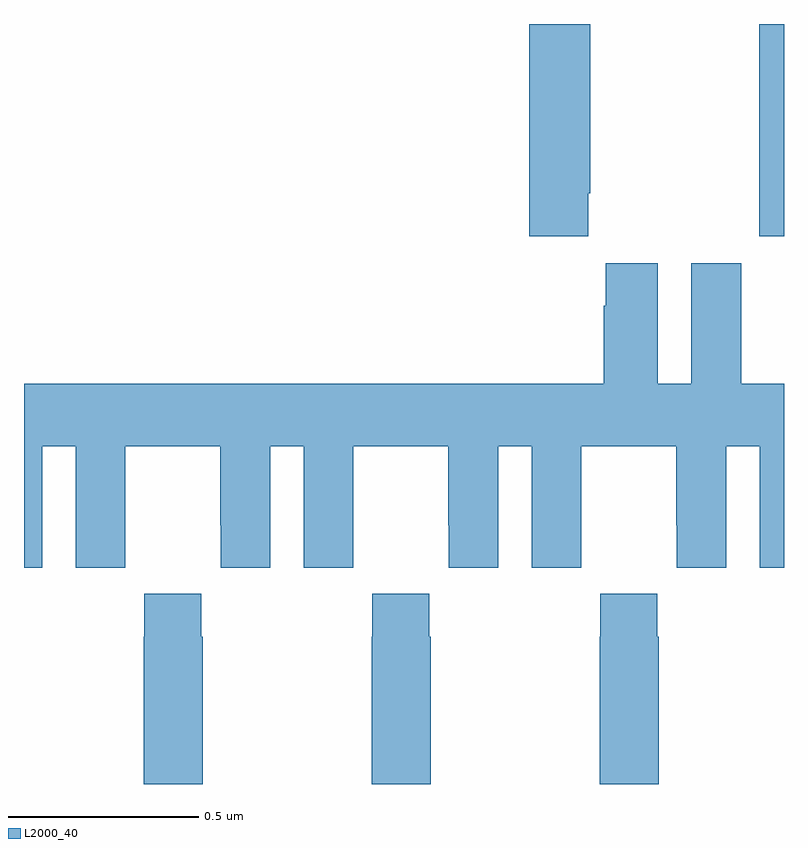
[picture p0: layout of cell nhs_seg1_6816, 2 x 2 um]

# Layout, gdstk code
import gdstk
lib = gdstk.Library(unit=1e-6, precision=1e-09)
def R(c, l, rs):  # rectangles x0, y0, x1, y1
    for r in rs: c.add(gdstk.rectangle(r[:2], r[2:], *l))
def P(c, l, *ps):  # polygons
    for p in ps: c.add(gdstk.Polygon(p, *l))
L2000_40 = (2000, 40)

nhs_seg1_6816 = lib.new_cell('nhs_seg1_6816')
R(nhs_seg1_6816, L2000_40, [(197.935,529.641,198,530.199)])
P(nhs_seg1_6816, L2000_40, [(197.485,529.753),(197.49,529.753),(197.49,530.199),(197.33,530.199),(197.33,529.641),(197.485,529.641)],
  [(197.717,528.88),(197.718,528.88),(197.718,528.768),(197.848,528.768),(197.848,529.088),(197.936,529.088),(197.936,528.768),(198,528.768),(198,529.252),(197.887,529.252),(197.887,529.57),(197.756,529.57),(197.756,529.252),(197.668,529.252),(197.668,529.57),(197.531,529.57),(197.531,529.457),(197.525,529.457),(197.525,529.252),(196,529.252),(196,528.768),(196.048,528.768),(196.048,529.088),(196.136,529.088),(196.136,528.768),(196.266,528.768),(196.266,528.88),(196.267,528.88),(196.267,529.088),(196.517,529.088),(196.517,528.88),(196.518,528.88),(196.518,528.768),(196.648,528.768),(196.648,529.088),(196.736,529.088),(196.736,528.768),(196.866,528.768),(196.866,528.88),(196.867,528.88),(196.867,529.088),(197.117,529.088),(197.117,528.88),(197.118,528.88),(197.118,528.768),(197.248,528.768),(197.248,529.088),(197.336,529.088),(197.336,528.768),(197.466,528.768),(197.466,528.88),(197.467,528.88),(197.467,529.088),(197.717,529.088)],
  [(197.07,528.587),(197.067,528.587),(197.067,528.7),(196.917,528.7),(196.917,528.587),(196.915,528.587),(196.915,528.199),(197.07,528.199)],
  [(196.47,528.587),(196.467,528.587),(196.467,528.7),(196.317,528.7),(196.317,528.587),(196.315,528.587),(196.315,528.199),(196.47,528.199)],
  [(197.67,528.587),(197.667,528.587),(197.667,528.7),(197.517,528.7),(197.517,528.587),(197.515,528.587),(197.515,528.199),(197.67,528.199)])

lib.write_gds('nhs_seg1_6816.gds')
